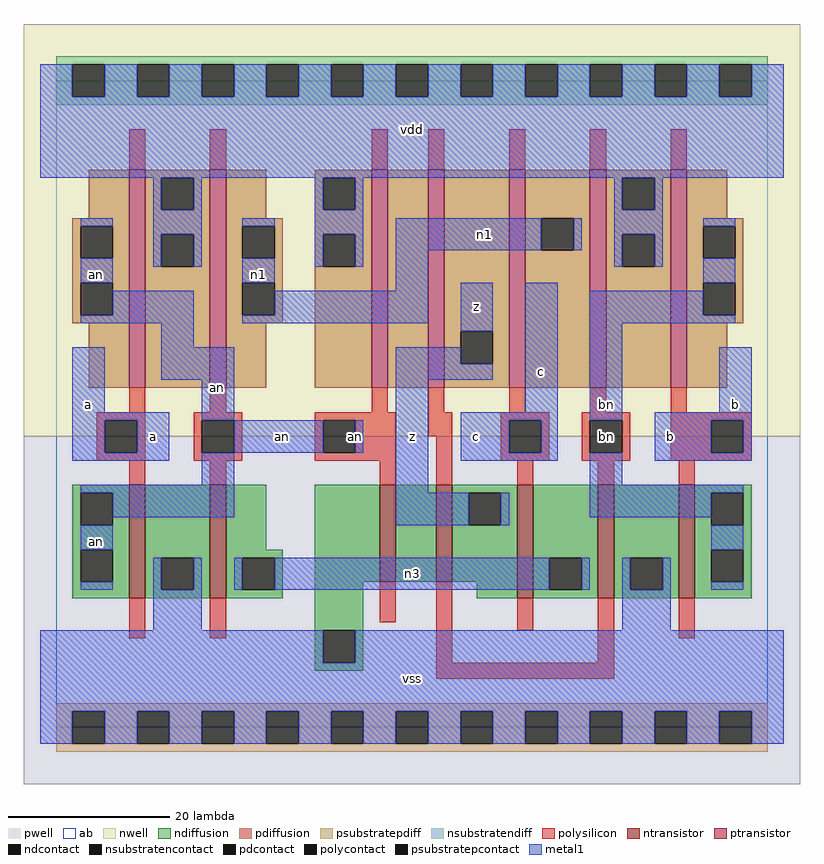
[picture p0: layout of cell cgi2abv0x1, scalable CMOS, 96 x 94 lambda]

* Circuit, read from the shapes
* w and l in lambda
.subckt cgi2abv0x1 a an b bn c n1 n3 vdd vss z
M1 vss a an vss nfet w=14 l=2
M2 n3 an vss vss nfet w=14 l=2
M3 n2 an vss vss nfet w=12 l=2
M4 z bn n2 vss nfet w=12 l=2
M5 n3 c z vss nfet w=14 l=2
M6 vss bn n3 vss nfet w=14 l=2
M7 bn b vss vss nfet w=14 l=2
M8 vdd a an vdd pfet w=27 l=2
M9 n1 an vdd vdd pfet w=27 l=2
M10 n4 an vdd vdd pfet w=27 l=2
M11 z bn n4 vdd pfet w=27 l=2
M12 n1 c z vdd pfet w=27 l=2
M13 vdd bn n1 vdd pfet w=27 l=2
M14 bn b vdd vdd pfet w=27 l=2
.ends

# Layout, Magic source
magic
tech scmos
<< ab >>
rect 0 0 88 80
<< pwell >>
rect -4 -7 92 36
<< nwell >>
rect -4 36 92 87
<< polysilicon >>
rect 9 69 11 74
rect 19 69 21 74
rect 39 69 41 74
rect 46 69 48 74
rect 56 69 58 74
rect 66 69 68 74
rect 76 69 78 74
rect 9 39 11 42
rect 19 39 21 42
rect 39 39 41 42
rect 46 39 48 42
rect 56 39 58 42
rect 66 39 68 42
rect 76 39 78 42
rect 5 38 11 39
rect 5 34 6 38
rect 10 34 11 38
rect 5 33 11 34
rect 17 38 23 39
rect 17 34 18 38
rect 22 34 23 38
rect 17 33 23 34
rect 32 38 42 39
rect 32 34 33 38
rect 37 34 42 38
rect 46 36 49 39
rect 32 33 42 34
rect 9 30 11 33
rect 19 30 21 33
rect 40 30 42 33
rect 47 30 49 36
rect 55 38 61 39
rect 55 34 56 38
rect 60 34 61 38
rect 55 33 61 34
rect 65 38 71 39
rect 65 34 66 38
rect 70 34 71 38
rect 65 33 71 34
rect 76 38 86 39
rect 76 34 81 38
rect 85 34 86 38
rect 76 33 86 34
rect 57 30 59 33
rect 67 30 69 33
rect 77 30 79 33
rect 9 11 11 16
rect 19 11 21 16
rect 40 13 42 18
rect 47 8 49 18
rect 57 12 59 16
rect 67 8 69 16
rect 77 11 79 16
rect 47 6 69 8
<< ndiffusion >>
rect 2 29 9 30
rect 2 25 3 29
rect 7 25 9 29
rect 2 22 9 25
rect 2 18 3 22
rect 7 18 9 22
rect 2 16 9 18
rect 11 21 19 30
rect 11 17 13 21
rect 17 17 19 21
rect 11 16 19 17
rect 21 22 26 30
rect 21 21 28 22
rect 21 17 23 21
rect 27 17 28 21
rect 21 16 28 17
rect 32 18 40 30
rect 42 18 47 30
rect 49 29 57 30
rect 49 25 51 29
rect 55 25 57 29
rect 49 18 57 25
rect 32 12 38 18
rect 32 8 33 12
rect 37 8 38 12
rect 32 7 38 8
rect 52 16 57 18
rect 59 21 67 30
rect 59 17 61 21
rect 65 17 67 21
rect 59 16 67 17
rect 69 21 77 30
rect 69 17 71 21
rect 75 17 77 21
rect 69 16 77 17
rect 79 29 86 30
rect 79 25 81 29
rect 85 25 86 29
rect 79 22 86 25
rect 79 18 81 22
rect 85 18 86 22
rect 79 16 86 18
<< pdiffusion >>
rect 4 63 9 69
rect 2 62 9 63
rect 2 58 3 62
rect 7 58 9 62
rect 2 55 9 58
rect 2 51 3 55
rect 7 51 9 55
rect 2 50 9 51
rect 4 42 9 50
rect 11 68 19 69
rect 11 64 13 68
rect 17 64 19 68
rect 11 61 19 64
rect 11 57 13 61
rect 17 57 19 61
rect 11 42 19 57
rect 21 63 26 69
rect 32 68 39 69
rect 32 64 33 68
rect 37 64 39 68
rect 21 62 28 63
rect 21 58 23 62
rect 27 58 28 62
rect 21 55 28 58
rect 21 51 23 55
rect 27 51 28 55
rect 21 50 28 51
rect 32 61 39 64
rect 32 57 33 61
rect 37 57 39 61
rect 21 42 26 50
rect 32 42 39 57
rect 41 42 46 69
rect 48 49 56 69
rect 48 45 50 49
rect 54 45 56 49
rect 48 42 56 45
rect 58 63 66 69
rect 58 59 60 63
rect 64 59 66 63
rect 58 42 66 59
rect 68 68 76 69
rect 68 64 70 68
rect 74 64 76 68
rect 68 61 76 64
rect 68 57 70 61
rect 74 57 76 61
rect 68 42 76 57
rect 78 63 83 69
rect 78 62 85 63
rect 78 58 80 62
rect 84 58 85 62
rect 78 55 85 58
rect 78 51 80 55
rect 84 51 85 55
rect 78 50 85 51
rect 78 42 83 50
<< metal1 >>
rect -2 78 2 82
rect 6 78 10 82
rect 14 78 18 82
rect 22 78 26 82
rect 30 78 34 82
rect 38 78 42 82
rect 46 78 50 82
rect 54 78 58 82
rect 62 78 66 82
rect 70 78 74 82
rect 78 78 82 82
rect 86 78 90 82
rect -2 68 90 78
rect 12 64 13 68
rect 17 64 18 68
rect 3 62 7 63
rect 3 55 7 58
rect 12 61 18 64
rect 32 64 33 68
rect 37 64 38 68
rect 12 57 13 61
rect 17 57 18 61
rect 23 62 27 63
rect 23 55 27 58
rect 32 61 38 64
rect 69 64 70 68
rect 74 64 75 68
rect 32 57 33 61
rect 37 57 38 61
rect 42 59 60 63
rect 64 59 65 63
rect 69 61 75 64
rect 7 51 17 54
rect 3 50 17 51
rect 42 54 46 59
rect 69 57 70 61
rect 74 57 75 61
rect 80 62 84 63
rect 80 55 84 58
rect 27 51 46 54
rect 23 50 46 51
rect 13 47 17 50
rect 50 49 54 55
rect 2 39 6 47
rect 13 43 22 47
rect 2 38 14 39
rect 2 34 6 38
rect 10 34 14 38
rect 2 33 14 34
rect 18 38 22 43
rect 42 45 50 47
rect 42 43 54 45
rect 22 34 33 38
rect 37 34 38 38
rect 18 30 22 34
rect 3 29 22 30
rect 7 26 22 29
rect 42 29 46 43
rect 58 39 62 55
rect 50 38 62 39
rect 50 34 56 38
rect 60 34 62 38
rect 50 33 62 34
rect 66 51 80 54
rect 66 50 84 51
rect 66 38 70 50
rect 82 39 86 47
rect 66 30 70 34
rect 74 38 86 39
rect 74 34 81 38
rect 85 34 86 38
rect 74 33 86 34
rect 66 29 85 30
rect 42 25 51 29
rect 55 25 56 29
rect 66 26 81 29
rect 3 22 7 25
rect 81 22 85 25
rect 3 17 7 18
rect 12 17 13 21
rect 17 17 18 21
rect 22 17 23 21
rect 27 17 61 21
rect 65 17 66 21
rect 70 17 71 21
rect 75 17 76 21
rect 81 17 85 18
rect 12 12 18 17
rect 70 12 76 17
rect -2 8 33 12
rect 37 8 90 12
rect -2 2 90 8
rect -2 -2 2 2
rect 6 -2 10 2
rect 14 -2 18 2
rect 22 -2 26 2
rect 30 -2 34 2
rect 38 -2 42 2
rect 46 -2 50 2
rect 54 -2 58 2
rect 62 -2 66 2
rect 70 -2 74 2
rect 78 -2 82 2
rect 86 -2 90 2
<< ntransistor >>
rect 9 16 11 30
rect 19 16 21 30
rect 40 18 42 30
rect 47 18 49 30
rect 57 16 59 30
rect 67 16 69 30
rect 77 16 79 30
<< ptransistor >>
rect 9 42 11 69
rect 19 42 21 69
rect 39 42 41 69
rect 46 42 48 69
rect 56 42 58 69
rect 66 42 68 69
rect 76 42 78 69
<< polycontact >>
rect 6 34 10 38
rect 18 34 22 38
rect 33 34 37 38
rect 56 34 60 38
rect 66 34 70 38
rect 81 34 85 38
<< ndcontact >>
rect 3 25 7 29
rect 3 18 7 22
rect 13 17 17 21
rect 23 17 27 21
rect 51 25 55 29
rect 33 8 37 12
rect 61 17 65 21
rect 71 17 75 21
rect 81 25 85 29
rect 81 18 85 22
<< pdcontact >>
rect 3 58 7 62
rect 3 51 7 55
rect 13 64 17 68
rect 13 57 17 61
rect 33 64 37 68
rect 23 58 27 62
rect 23 51 27 55
rect 33 57 37 61
rect 50 45 54 49
rect 60 59 64 63
rect 70 64 74 68
rect 70 57 74 61
rect 80 58 84 62
rect 80 51 84 55
<< psubstratepcontact >>
rect 2 -2 6 2
rect 10 -2 14 2
rect 18 -2 22 2
rect 26 -2 30 2
rect 34 -2 38 2
rect 42 -2 46 2
rect 50 -2 54 2
rect 58 -2 62 2
rect 66 -2 70 2
rect 74 -2 78 2
rect 82 -2 86 2
<< nsubstratencontact >>
rect 2 78 6 82
rect 10 78 14 82
rect 18 78 22 82
rect 26 78 30 82
rect 34 78 38 82
rect 42 78 46 82
rect 50 78 54 82
rect 58 78 62 82
rect 66 78 70 82
rect 74 78 78 82
rect 82 78 86 82
<< psubstratepdiff >>
rect 0 2 88 3
rect 0 -2 2 2
rect 6 -2 10 2
rect 14 -2 18 2
rect 22 -2 26 2
rect 30 -2 34 2
rect 38 -2 42 2
rect 46 -2 50 2
rect 54 -2 58 2
rect 62 -2 66 2
rect 70 -2 74 2
rect 78 -2 82 2
rect 86 -2 88 2
rect 0 -3 88 -2
<< nsubstratendiff >>
rect 0 82 88 83
rect 0 78 2 82
rect 6 78 10 82
rect 14 78 18 82
rect 22 78 26 82
rect 30 78 34 82
rect 38 78 42 82
rect 46 78 50 82
rect 54 78 58 82
rect 62 78 66 82
rect 70 78 74 82
rect 78 78 82 82
rect 86 78 88 82
rect 0 77 88 78
<< labels >>
rlabel polysilicon 20 42 20 42 6 an
rlabel polysilicon 37 36 37 36 6 an
rlabel polycontact 68 36 68 36 6 bn
rlabel metal1 5 23 5 23 6 an
rlabel metal1 4 40 4 40 6 a
rlabel metal1 12 36 12 36 6 a
rlabel metal1 5 56 5 56 6 an
rlabel metal1 25 56 25 56 6 n1
rlabel metal1 44 6 44 6 6 vss
rlabel metal1 28 36 28 36 6 an
rlabel metal1 44 36 44 36 6 z
rlabel metal1 44 74 44 74 6 vdd
rlabel metal1 44 19 44 19 6 n3
rlabel metal1 52 36 52 36 6 c
rlabel metal1 60 44 60 44 6 c
rlabel metal1 52 52 52 52 6 z
rlabel metal1 68 40 68 40 6 bn
rlabel metal1 53 61 53 61 6 n1
rlabel metal1 84 40 84 40 6 b
rlabel metal1 76 36 76 36 6 b
<< end >>
